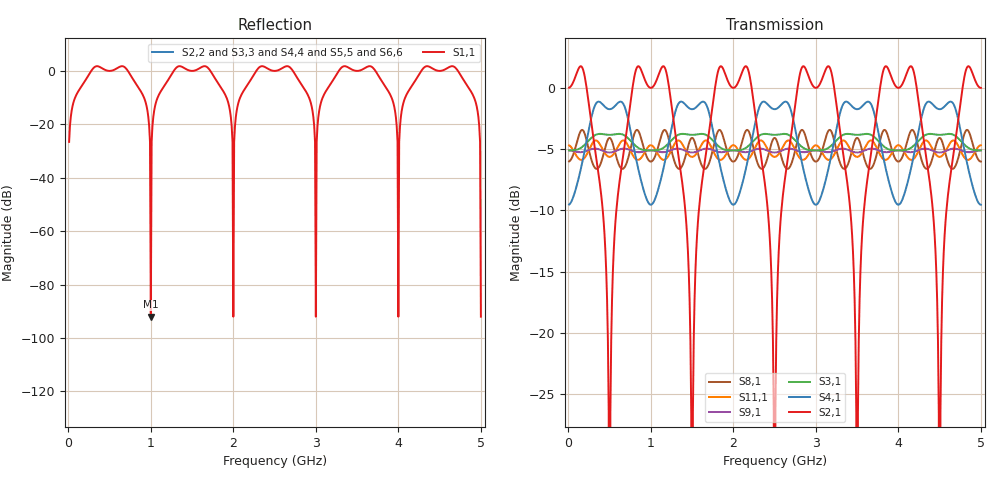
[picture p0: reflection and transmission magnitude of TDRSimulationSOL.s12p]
# MHz MA S R 50.0
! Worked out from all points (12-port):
!   500 points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, 10 MHz to 5 GHz, reference 50 ohm
!   strongest paths, dB at 10 MHz, 1.26 GHz, 2.51 GHz, 3.76 GHz, 5 GHz:
!     S2,1: 0.0, -1.9, -26.6, -0.9, 0.0
!     S4,1: -9.5, -3.0, -1.7, -3.7, -9.5
!     S3,1: -5.1, -4.2, -3.8, -4.4, -5.1
!     S9,1: -5.1, -5.0, -5.3, -5.1, -5.1
!     S11,1: -4.7, -4.9, -5.6, -5.2, -4.7
!     S8,1: -6.0, -5.4, -4.1, -4.8, -6.0
!   lowest |S11| = -92.0 dB at 1 GHz (marker M1), VSWR 1.00, Z = 50 + j0 ohm
!   |S11| at or under -10 dB: 917.4 MHz to 1.083 GHz (165.2 MHz wide, 16.5 % of centre); 1.917 GHz to 2.083 GHz (165.2 MHz wide, 8.26 % of centre); 2.917 GHz to 3.083 GHz (165.2 MHz wide, 5.51 % of centre) (the widest 3 of 6)
